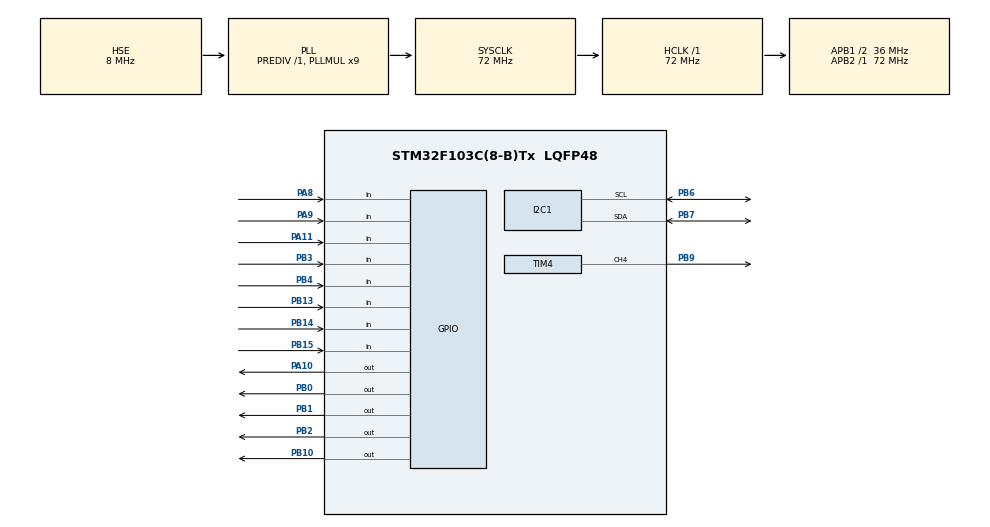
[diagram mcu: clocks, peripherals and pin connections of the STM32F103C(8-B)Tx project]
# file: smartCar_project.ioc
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Mcu.Family=STM32F1
Mcu.Name=STM32F103C(8-B)Tx
Mcu.Package=LQFP48
NVIC.PriorityGroup=NVIC_PRIORITYGROUP_4
PA10.Signal=GPIO_Output
PA11.Signal=GPIO_Input
PA13.Mode=Serial_Wire
PA13.Signal=SYS_JTMS-SWDIO
PA14.Mode=Serial_Wire
PA14.Signal=SYS_JTCK-SWCLK
PA8.Signal=GPIO_Input
PA9.Signal=GPIO_Input
PB0.Signal=GPIO_Output
PB1.Signal=GPIO_Output
PB10.Signal=GPIO_Output
PB13.Signal=GPIO_Input
PB14.Signal=GPIO_Input
PB15.Signal=GPIO_Input
PB2.Signal=GPIO_Output
PB3.Signal=GPIO_Input
PB4.Signal=GPIO_Input
PB6.Mode=I2C
PB6.Signal=I2C1_SCL
PB7.Mode=I2C
PB7.Signal=I2C1_SDA
PB9.Signal=S_TIM4_CH4
PD0-OSC_IN.Mode=HSE-External-Oscillator
PD0-OSC_IN.Signal=RCC_OSC_IN
PD1-OSC_OUT.Mode=HSE-External-Oscillator
PD1-OSC_OUT.Signal=RCC_OSC_OUT
ProjectManager.HeapSize=0x200
ProjectManager.StackSize=0x400
ProjectManager.TargetToolchain=MDK-ARM V5.32
RCC.AHBFreq_Value=72000000
RCC.APB1CLKDivider=RCC_HCLK_DIV2
RCC.APB1Freq_Value=36000000
RCC.APB1TimFreq_Value=72000000
RCC.APB2Freq_Value=72000000
RCC.APB2TimFreq_Value=72000000
RCC.HCLKFreq_Value=72000000
RCC.PLLMUL=RCC_PLL_MUL9
RCC.PLLSourceVirtual=RCC_PLLSOURCE_HSE
RCC.SYSCLKFreq_VALUE=72000000
RCC.SYSCLKSource=RCC_SYSCLKSOURCE_PLLCLK
RCC.USBFreq_Value=72000000
SH.S_TIM4_CH4.0=TIM4_CH4,PWM Generation4 CH4
TIM2.AutoReloadPreload=TIM_AUTORELOAD_PRELOAD_ENABLE
TIM2.Prescaler=71
TIM4.AutoReloadPreload=TIM_AUTORELOAD_PRELOAD_ENABLE
TIM4.Channel-PWM\ Generation4\ CH4=TIM_CHANNEL_4
TIM4.Period=199
TIM4.Prescaler=7199
VP_TIM2_VS_ClockSourceINT.Mode=Internal
VP_TIM4_VS_ClockSourceINT.Mode=Internal
board=custom

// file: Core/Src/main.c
/* USER CODE BEGIN Header */
/**
  ******************************************************************************
  * @file           : main.c
  * @brief          : Main program body
  ******************************************************************************
  * @attention
  *
  * Copyright (c) 2023 STMicroelectronics.
  * All rights reserved.
  *
  * This software is licensed under terms that can be found in the LICENSE file
  * in the root directory of this software component.
  * If no LICENSE file comes with this software, it is provided AS-IS.
  *
  ******************************************************************************
  */
/* USER CODE END Header */
#include "main.h"
#include "i2c.h"
#include "tim.h"
#include "gpio.h"

/* USER CODE BEGIN Includes */
#include "sg90.h"
#include "sr04.h"
#include "motor.h"
#include "oled.h"
/* USER CODE END Includes */

/* USER CODE BEGIN PM */
#define MIDDLE 0
#define LEFT 1
#define RIGHT 2

#define BZ 1
#define XJ 2
#define GS 3
#define ST 4

#define LeftWheel_Value_XJ HAL_GPIO_ReadPin(GPIOB, GPIO_PIN_3)
#define RightWheel_Value_XJ HAL_GPIO_ReadPin(GPIOB, GPIO_PIN_4)

#define LeftWheel_Value_GS HAL_GPIO_ReadPin(GPIOA, GPIO_PIN_8)
#define RightWheel_Value_GS HAL_GPIO_ReadPin(GPIOA, GPIO_PIN_9)

#define A25 HAL_GPIO_ReadPin(GPIOA, GPIO_PIN_15)
#define A26 HAL_GPIO_ReadPin(GPIOA, GPIO_PIN_13)
#define A27 HAL_GPIO_ReadPin(GPIOA, GPIO_PIN_14)
/* USER CODE END PM */

void SystemClock_Config(void);

/* USER CODE BEGIN 0 */
char dir;

void xunjiMode()
{
	if(LeftWheel_Value_XJ == GPIO_PIN_RESET && RightWheel_Value_XJ == GPIO_PIN_RESET)
		goForward();
	if(LeftWheel_Value_XJ == GPIO_PIN_SET && RightWheel_Value_XJ == GPIO_PIN_RESET)
		goLeft();
	if(LeftWheel_Value_XJ == GPIO_PIN_RESET && RightWheel_Value_XJ == GPIO_PIN_SET)
		goRight();
	if(LeftWheel_Value_XJ == GPIO_PIN_SET && RightWheel_Value_XJ == GPIO_PIN_SET)
		stop();
}

void gensuiMode()
{
	if(LeftWheel_Value_GS == GPIO_PIN_RESET && RightWheel_Value_GS == GPIO_PIN_RESET)
		goForward();
	if(LeftWheel_Value_GS == GPIO_PIN_SET && RightWheel_Value_GS == GPIO_PIN_RESET)
		goRight();
	if(LeftWheel_Value_GS == GPIO_PIN_RESET && RightWheel_Value_GS == GPIO_PIN_SET)
		goLeft();
	if(LeftWheel_Value_GS == GPIO_PIN_SET && RightWheel_Value_GS == GPIO_PIN_SET)
		stop();
}

void bizhangMode()
{
	double disMiddle;
	double disLeft;
	double disRight;

	if(dir != MIDDLE){
		sgMiddle();
		dir = MIDDLE;
		HAL_Delay(450);
	}
	disMiddle = get_distance();

	if(disMiddle > 35){
		//前进
		goForward();
	}else if(disMiddle < 10){
		goBack();

	}else
	{
		//停止
		stop();
		//测左边距离
		sgLeft();
		HAL_Delay(450);
		disLeft = get_distance();

		sgMiddle();
		HAL_Delay(450);

		sgRight();
		dir = RIGHT;
		HAL_Delay(450);
		disRight = get_distance();

		if(disLeft < disRight){
			goRight();
			HAL_Delay(150);
			stop();
		}
		if(disRight < disLeft){
			goLeft();
			HAL_Delay(150);
			stop();
		}
	}
	HAL_Delay(50);
}
/* USER CODE END 0 */

int main(void)
{
  /* USER CODE BEGIN 1 */
	int mark = 0;
  /* USER CODE END 1 */

  /* MCU Configuration--------------------------------------------------------*/

  /* Reset of all peripherals, Initializes the Flash interface and the Systick. */
  HAL_Init();

  /* Configure the system clock */
  SystemClock_Config();

  /* Initialize all configured peripherals */
  MX_GPIO_Init();
  MX_TIM4_Init();
  MX_TIM2_Init();
  MX_I2C1_Init();
  /* USER CODE BEGIN 2 */
	initSG90();
	HAL_Delay(1000);
	dir = MIDDLE;
	Oled_Init();
	Oled_Screen_Clear();
	Oled_Show_Str(2,2,"-----Ready----");
  /* USER CODE END 2 */

  /* Infinite loop */
  while (1)
  {

    /* USER CODE BEGIN 3 */
		//满足寻迹模式的条件
		if(A25 == 0 && A26 == 1 && A27 == 1){
			if(mark != XJ){
				Oled_Screen_Clear();
				Oled_Show_Str(2,2,"-----XunJi----");
			}
			mark = XJ;
			xunjiMode();
		}
		//满足跟随模式的条件
		if(A25 == 1 && A26 == 0 && A27 == 1){
			if(mark != GS){
				Oled_Screen_Clear();
				Oled_Show_Str(2,2,"-----GenSui----");
			}
			mark = GS;
			gensuiMode();
		}
		//满足避障模式的条件
		if(A25 == 1 && A26 == 1 && A27 == 0){
			if(mark != BZ){
				Oled_Screen_Clear();
				Oled_Show_Str(2,2,"-----BiZhang----");
			}
			mark = BZ;
			bizhangMode();
		}
		//停下
		if(A25 == 0 && A26 == 0 && A27 == 0){
			if(mark != ST){
				Oled_Screen_Clear();
				Oled_Show_Str(2,2,"----Stop----");
			}
			mark = ST;
			stop();
		}
  }
  /* USER CODE END 3 */
}

void SystemClock_Config(void)
{
  RCC_OscInitTypeDef RCC_OscInitStruct = {0};
  RCC_ClkInitTypeDef RCC_ClkInitStruct = {0};

  /** Initializes the RCC Oscillators according to the specified parameters
  * in the RCC_OscInitTypeDef structure.
  */
  RCC_OscInitStruct.OscillatorType = RCC_OSCILLATORTYPE_HSE;
  RCC_OscInitStruct.HSEState = RCC_HSE_ON;
  RCC_OscInitStruct.HSEPredivValue = RCC_HSE_PREDIV_DIV1;
  RCC_OscInitStruct.HSIState = RCC_HSI_ON;
  RCC_OscInitStruct.PLL.PLLState = RCC_PLL_ON;
  RCC_OscInitStruct.PLL.PLLSource = RCC_PLLSOURCE_HSE;
  RCC_OscInitStruct.PLL.PLLMUL = RCC_PLL_MUL9;
  if (HAL_RCC_OscConfig(&RCC_OscInitStruct) != HAL_OK)
  {
    Error_Handler();
  }

  /** Initializes the CPU, AHB and APB buses clocks
  */
  RCC_ClkInitStruct.ClockType = RCC_CLOCKTYPE_HCLK|RCC_CLOCKTYPE_SYSCLK
                              |RCC_CLOCKTYPE_PCLK1|RCC_CLOCKTYPE_PCLK2;
  RCC_ClkInitStruct.SYSCLKSource = RCC_SYSCLKSOURCE_PLLCLK;
  RCC_ClkInitStruct.AHBCLKDivider = RCC_SYSCLK_DIV1;
  RCC_ClkInitStruct.APB1CLKDivider = RCC_HCLK_DIV2;
  RCC_ClkInitStruct.APB2CLKDivider = RCC_HCLK_DIV1;

  if (HAL_RCC_ClockConfig(&RCC_ClkInitStruct, FLASH_LATENCY_2) != HAL_OK)
  {
    Error_Handler();
  }
}

void Error_Handler(void)
{
  __disable_irq();
  while (1)
  {
  }
}
